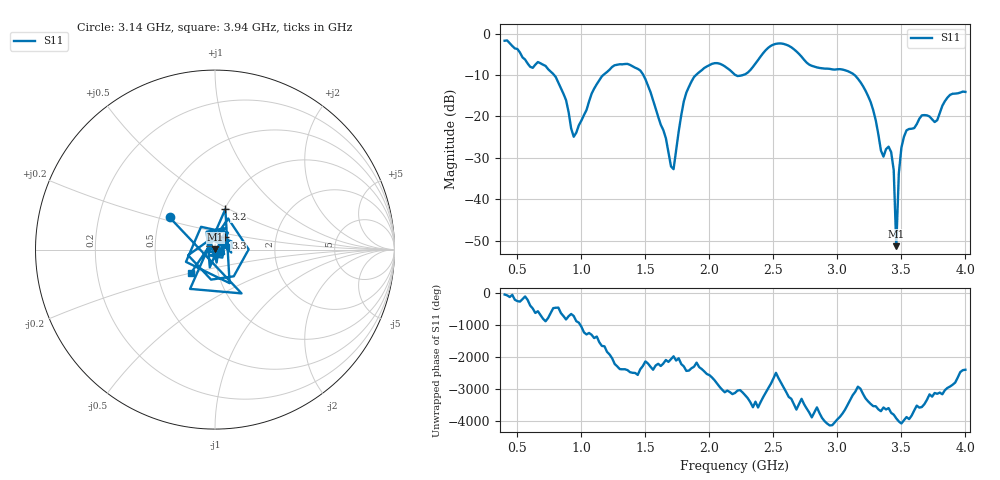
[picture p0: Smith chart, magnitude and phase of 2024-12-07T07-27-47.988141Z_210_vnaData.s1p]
!Created with skrf (http://scikit-rf.org).
# Hz S RI R 50.0
!freq ReS11 ImS11
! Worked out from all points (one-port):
!   181 points, 400 MHz to 4 GHz, reference 50 ohm
!   lowest |S11| = -51.3 dB at 3.46 GHz (marker M1), VSWR 1.01, Z = 50.2 + j0.139 ohm
!   |S11| at or under -10 dB: 786.3 MHz to 1.172 GHz (385.6 MHz wide, 39.4 % of centre); 1.483 GHz to 1.896 GHz (412.6 MHz wide, 24.4 % of centre); 3.133 GHz to end of sweep (the widest 3 of 4)
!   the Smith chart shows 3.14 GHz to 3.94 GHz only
!   S11 on the Smith chart (normalised r, x): 3.14 GHz: 0.56, +0.22; 3.2 GHz: 1.01, +0.48; 3.3 GHz: 1.11, +0.15; 3.94 GHz: 0.74, -0.20
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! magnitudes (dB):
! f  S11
! 400 MHz  -1.7
! 860 MHz  -14.6
! 940 MHz  -24.9
! 1.12 GHz  -12.2
! 1.3 GHz  -7.4
! 1.5 GHz  -11.0
! 1.7 GHz  -32.1
! 1.72 GHz  -32.7
! 1.76 GHz  -23.7
! 1.8 GHz  -16.4
! 1.88 GHz  -10.5
! 2.04 GHz  -7.2
! 2.2 GHz  -10.0
! 2.5 GHz  -2.7
! 2.66 GHz  -3.8
! 3.1 GHz  -9.4
! 3.14 GHz  -10.2
! 3.2 GHz  -12.7
! 3.3 GHz  -21.0
! 3.36 GHz  -29.7
! 3.42 GHz  -28.6
! 3.44 GHz  -33.0
! 3.46 GHz  -51.3
! 3.48 GHz  -33.7
! 3.5 GHz  -27.5
! 3.56 GHz  -23.0
! 3.94 GHz  -14.4
! 4 GHz  -14.1
